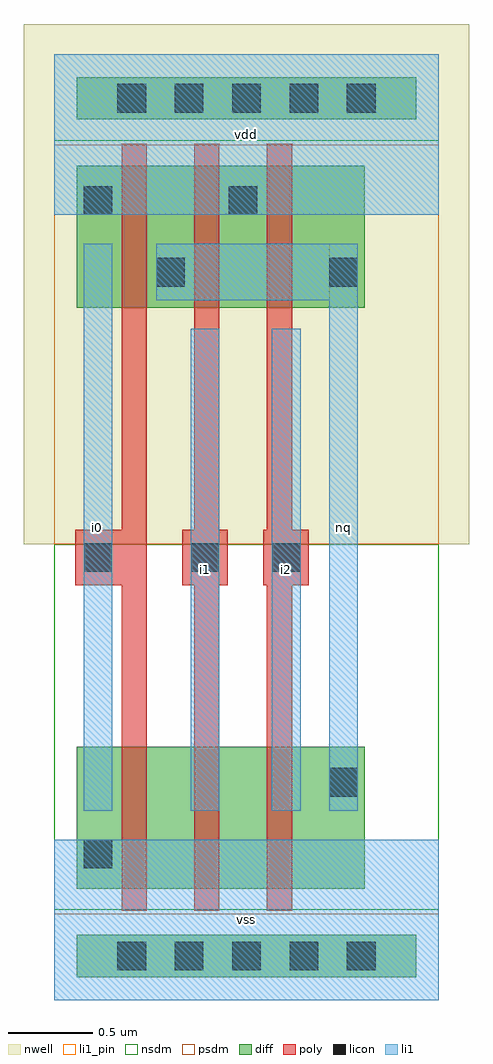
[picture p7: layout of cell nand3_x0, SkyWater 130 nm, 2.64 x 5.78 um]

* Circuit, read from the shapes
.subckt nand3_x0 i0 i1 i2 nq vdd vss
XM1 n1 i0 vss VSUBS sky130_fd_pr__nfet_01v8 w=0.84 l=0.15
XM2 n2 i1 n1 VSUBS sky130_fd_pr__nfet_01v8 w=0.84 l=0.15
XM3 nq i2 n2 VSUBS sky130_fd_pr__nfet_01v8 w=0.84 l=0.15
XM4 nq i0 vdd n3 sky130_fd_pr__pfet_01v8 w=0.84 l=0.15
XM5 vdd i1 nq n3 sky130_fd_pr__pfet_01v8 w=0.84 l=0.15
XM6 nq i2 vdd n3 sky130_fd_pr__pfet_01v8 w=0.84 l=0.15
.ends

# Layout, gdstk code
import gdstk
lib = gdstk.Library(unit=1e-6, precision=1e-09)
def R(c, l, rs):  # rectangles x0, y0, x1, y1
    for r in rs: c.add(gdstk.rectangle(r[:2], r[2:], *l))
def A(c, l, x, y, w, h, nx, ny, dx, dy):  # array of equal rectangles
    R(c, l, [(x+i*dx, y+j*dy, x+i*dx+w, y+j*dy+h) for i in range(nx) for j in range(ny)])
def P(c, l, *ps):  # polygons
    for p in ps: c.add(gdstk.Polygon(p, *l))
nwell = (64, 20)
diff = (65, 20)
poly = (66, 20)
licon = (66, 44)
li1_pin = (67, 16)
li1 = (67, 20)
nsdm = (93, 44)
psdm = (94, 20)

nand3_x0 = lib.new_cell('nand3_x0')
R(nand3_x0, nwell, [(-0.18,2.7,2.46,5.78)])
R(nand3_x0, diff, [(0.135,0.135,2.145,0.385), (0.135,0.66,1.84,1.5), (0.135,4.1,1.84,4.94), (0.135,5.215,2.145,5.465)])
P(nand3_x0, poly, [(0.4,0.53),(0.4,2.455),(0.125,2.455),(0.125,2.785),(0.4,2.785),(0.4,5.07),(0.55,5.07),(0.55,0.53)],
  [(0.83,0.53),(0.83,2.455),(0.76,2.455),(0.76,2.785),(0.83,2.785),(0.83,5.07),(0.98,5.07),(0.98,2.785),(1.03,2.785),(1.03,2.455),(0.98,2.455),(0.98,0.53)],
  [(1.26,0.53),(1.26,2.455),(1.24,2.455),(1.24,2.785),(1.26,2.785),(1.26,5.07),(1.41,5.07),(1.41,2.785),(1.51,2.785),(1.51,2.455),(1.41,2.455),(1.41,0.53)])
A(nand3_x0, licon, 0.375, 0.175, 0.17, 0.17, 5, 2, 0.34, 5.08)
R(nand3_x0, licon, [(0.175,0.78,0.345,0.95), (1.63,1.205,1.8,1.375), (0.175,2.535,0.345,2.705), (0.81,2.535,0.98,2.705), (1.29,2.535,1.46,2.705), (0.605,4.225,0.775,4.395), (1.63,4.225,1.8,4.395), (0.175,4.65,0.345,4.82), (1.035,4.65,1.205,4.82)])
R(nand3_x0, li1_pin, [(0,0,2.28,0.95), (0.175,1.12,0.345,4.48), (0.81,1.12,0.98,3.975), (1.29,1.12,1.46,3.975), (1.63,1.12,1.8,4.48), (0,4.65,2.28,5.6)])
R(nand3_x0, li1, [(0,0,2.28,0.95), (0.175,1.12,0.345,4.48), (0.81,1.12,0.98,3.975), (1.29,1.12,1.46,3.975), (0,4.65,2.28,5.6)])
P(nand3_x0, li1, [(1.63,1.12),(1.63,4.145),(0.605,4.145),(0.605,4.48),(1.8,4.48),(1.8,1.12)])
R(nand3_x0, nsdm, [(0,0.535,2.28,2.7), (0,5.09,2.28,5.6)])
R(nand3_x0, psdm, [(0,0,2.28,0.51), (0,2.7,2.28,5.065)])
nand3_x0.add(gdstk.Label('vss', (1.14,0.475), layer=67, texttype=16))
nand3_x0.add(gdstk.Label('vdd', (1.14,5.125), layer=67, texttype=16))
nand3_x0.add(gdstk.Label('i0', (0.26,2.8), layer=67, texttype=16))
nand3_x0.add(gdstk.Label('nq', (1.715,2.8), layer=67, texttype=16))
nand3_x0.add(gdstk.Label('i1', (0.895,2.548), layer=67, texttype=16))
nand3_x0.add(gdstk.Label('i2', (1.375,2.548), layer=67, texttype=16))

lib.write_gds('nand3_x0.gds')
